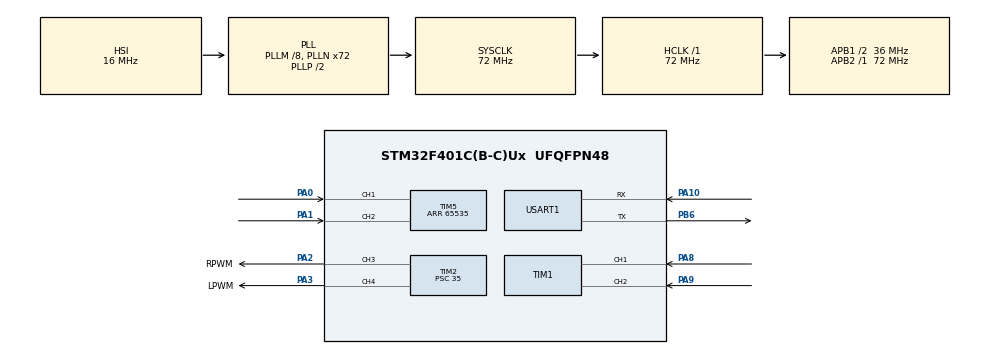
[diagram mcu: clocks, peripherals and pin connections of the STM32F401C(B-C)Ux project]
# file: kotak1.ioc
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Mcu.Family=STM32F4
Mcu.Name=STM32F401C(B-C)Ux
Mcu.Package=UFQFPN48
NVIC.PriorityGroup=NVIC_PRIORITYGROUP_4
NVIC.TIM3_IRQn=true\:0\:0\:false\:false\:true\:true\:true\:true
PA0-WKUP.Signal=S_TIM5_CH1
PA1.Signal=S_TIM5_CH2
PA10.Mode=Asynchronous
PA10.Signal=USART1_RX
PA13.Mode=Serial_Wire
PA13.Signal=SYS_JTMS-SWDIO
PA14.Mode=Serial_Wire
PA14.Signal=SYS_JTCK-SWCLK
PA2.GPIO_Label=RPWM
PA2.Signal=S_TIM2_CH3
PA3.GPIO_Label=LPWM
PA3.Signal=S_TIM2_CH4
PA8.Signal=S_TIM1_CH1
PA9.Signal=S_TIM1_CH2
PB6.Mode=Asynchronous
PB6.Signal=USART1_TX
PH0\ -\ OSC_IN.Mode=HSE-External-Oscillator
PH0\ -\ OSC_IN.Signal=RCC_OSC_IN
PH1\ -\ OSC_OUT.Mode=HSE-External-Oscillator
PH1\ -\ OSC_OUT.Signal=RCC_OSC_OUT
ProjectManager.HeapSize=0x200
ProjectManager.StackSize=0x400
ProjectManager.TargetToolchain=STM32CubeIDE
RCC.48MHZClocksFreq_Value=36000000
RCC.AHBFreq_Value=72000000
RCC.APB1CLKDivider=RCC_HCLK_DIV2
RCC.APB1Freq_Value=36000000
RCC.APB1TimFreq_Value=72000000
RCC.APB2Freq_Value=72000000
RCC.APB2TimFreq_Value=72000000
RCC.CortexFreq_Value=72000000
RCC.HCLKFreq_Value=72000000
RCC.HSE_VALUE=25000000
RCC.HSI_VALUE=16000000
RCC.LSE_VALUE=32768
RCC.PLLM=8
RCC.PLLN=72
RCC.SYSCLKFreq_VALUE=72000000
RCC.SYSCLKSource=RCC_SYSCLKSOURCE_PLLCLK
RCC.VCOOutputFreq_Value=144000000
SH.S_TIM1_CH1.0=TIM1_CH1,Encoder_Interface
SH.S_TIM1_CH2.0=TIM1_CH2,Encoder_Interface
SH.S_TIM2_CH3.0=TIM2_CH3,PWM Generation3 CH3
SH.S_TIM2_CH4.0=TIM2_CH4,PWM Generation4 CH4
SH.S_TIM5_CH1.0=TIM5_CH1,Encoder_Interface
SH.S_TIM5_CH2.0=TIM5_CH2,Encoder_Interface
TIM1.EncoderMode=TIM_ENCODERMODE_TI12
TIM2.Channel-PWM\ Generation3\ CH3=TIM_CHANNEL_3
TIM2.Channel-PWM\ Generation4\ CH4=TIM_CHANNEL_4
TIM2.Period=99
TIM2.Prescaler=35
TIM3.Period=65535
TIM3.Prescaler=0
TIM5.EncoderMode=TIM_ENCODERMODE_TI12
TIM5.Period=65535
USART1.VirtualMode=VM_ASYNC
VP_TIM2_VS_ClockSourceINT.Mode=Internal
VP_TIM3_VS_ClockSourceINT.Mode=Internal
board=custom

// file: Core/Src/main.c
/* USER CODE BEGIN Header */
/**
  ******************************************************************************
  * @file           : main.c
  * @brief          : Main program body
  ******************************************************************************
  * @attention
  *
  * Copyright (c) 2026 STMicroelectronics.
  * All rights reserved.
  *
  * This software is licensed under terms that can be found in the LICENSE file
  * in the root directory of this software component.
  * If no LICENSE file comes with this software, it is provided AS-IS.
  *
  ******************************************************************************
  */
/* USER CODE END Header */
#include "main.h"

/* USER CODE BEGIN Includes */
#include <stdio.h>
#include "PID.h"
/* USER CODE END Includes */

TIM_HandleTypeDef htim1;
TIM_HandleTypeDef htim2;
TIM_HandleTypeDef htim3;
TIM_HandleTypeDef htim5;

UART_HandleTypeDef huart1;

/* USER CODE BEGIN PV */
//general
float duty;
int x;
uint32_t time;
//encoder
float measuredRPM = 0;
int16_t counterValue;
int16_t pastCounterValue;
int angleValue;
volatile float baca = 0.0f;
int16_t delta;
float rpm;
float cpr = 537.6;
float derajat;
uint32_t prevwaktu;

//PID
PIDController motorPID;
float targetRPM = 0.0f;       // <-- Type your desired RPM here in Live Expressions!
float Kp = 0.1f;              // Optional: expose Kp, Ki, Kd to tune them live too!
float Ki = 0.0f;
float Kd = 0.0f;

float posisi;
float ms = 50;
// printMessage;
/* USER CODE END PV */

void SystemClock_Config(void);
static void MX_GPIO_Init(void);
static void MX_TIM2_Init(void);
static void MX_USART1_UART_Init(void);
static void MX_TIM1_Init(void);
static void MX_TIM3_Init(void);
static void MX_TIM5_Init(void);

/* USER CODE BEGIN 0 */
void motor(){
	if (targetRPM > 0) {
		 if (duty < 0){
		 duty = 0;
		 }
		__HAL_TIM_SET_COMPARE(&htim2, TIM_CHANNEL_3, (uint32_t)(duty));
		__HAL_TIM_SET_COMPARE(&htim2, TIM_CHANNEL_4, 0);
	}
	else if (targetRPM<0) {
		 if (duty > 0){
		 duty = 0;
		 }
		__HAL_TIM_SET_COMPARE(&htim2, TIM_CHANNEL_3, 0);
		__HAL_TIM_SET_COMPARE(&htim2, TIM_CHANNEL_4, (uint32_t)(-duty));//-
	}
	else{
        motorPID.integrator = 0;
        duty = 0;
		__HAL_TIM_SET_COMPARE(&htim2, TIM_CHANNEL_3, 0);
		__HAL_TIM_SET_COMPARE(&htim2, TIM_CHANNEL_4, 0);
	}
}

void modeFahri(){
	  time = HAL_GetTick();
	  if (time - prevwaktu < 50) return;
	  prevwaktu = time;
	  counterValue =(int16_t)__HAL_TIM_GET_COUNTER(&htim5);
	  	  if(counterValue != pastCounterValue || duty == 0){
	  		  angleValue=(360.0/cpr)*((float)counterValue);
	  		  delta = counterValue - pastCounterValue;
	  		  rpm = (delta/cpr) * (60/0.05);
			  motorPID.Kp = Kp;
			  motorPID.Ki = Ki;
			  motorPID.Kd = Kd;
			  duty = (float)PIDController_Update(&motorPID, targetRPM, rpm);
	  	  }
 	  pastCounterValue = counterValue;

	  motor();
//	  counterValue =(int16_t)__HAL_TIM_GET_COUNTER(&htim5);

}
/* USER CODE END 0 */

int main(void)
{

  /* MCU Configuration--------------------------------------------------------*/

  /* Reset of all peripherals, Initializes the Flash interface and the Systick. */
  HAL_Init();

  /* USER CODE BEGIN Init */

//	void pidPosisi(){
//		posisi = sTarget/360*cpr;
//
//	}
  /* USER CODE END Init */

  /* Configure the system clock */
  SystemClock_Config();

  /* Initialize all configured peripherals */
  MX_GPIO_Init();
  MX_TIM2_Init();
  MX_USART1_UART_Init();
  MX_TIM1_Init();
  MX_TIM3_Init();
  MX_TIM5_Init();
  /* USER CODE BEGIN 2 */
  HAL_TIM_PWM_Start(&htim2, TIM_CHANNEL_3);
  HAL_TIM_PWM_Start(&htim2, TIM_CHANNEL_4);
  HAL_TIM_Encoder_Start(&htim5, TIM_CHANNEL_ALL);

  motorPID.Kp = Kp;
  motorPID.Ki = Ki;
  motorPID.Kd = Kd;
  motorPID.tau = 0.02f;
  motorPID.limMin = -50.0f;     // Allow negative output if you want reverse RPM
  motorPID.limMax = 50.0f;      // Matches your TIM2 Period = 99
  motorPID.limMinInt = -50.0f;
  motorPID.limMaxInt = 50.0f;
  motorPID.T = 0.05f;           // MUST match your 50 ms (0.05s) loop!
  PIDController_Init(&motorPID);
//  int counterValue;
//  int pastCounterValue;
//  float angleValue;
//  char printMessage[200]={'\0'};
  /* USER CODE END 2 */

  /* Infinite loop */
  /* USER CODE BEGIN WHILE */
  while (1)
  {
	  modeFahri();
//	  motor();

//	  time = HAL_GetTick();
//	  if(time -prevwaktu>=10){
//		  modeFahri();
//		  time = prevwaktu;
//	  }

//	  posisi();

    /* USER CODE END WHILE */

  }
}

void SystemClock_Config(void)
{
  RCC_OscInitTypeDef RCC_OscInitStruct = {0};
  RCC_ClkInitTypeDef RCC_ClkInitStruct = {0};

  /** Configure the main internal regulator output voltage
  */
  __HAL_RCC_PWR_CLK_ENABLE();
  __HAL_PWR_VOLTAGESCALING_CONFIG(PWR_REGULATOR_VOLTAGE_SCALE2);

  /** Initializes the RCC Oscillators according to the specified parameters
  * in the RCC_OscInitTypeDef structure.
  */
  RCC_OscInitStruct.OscillatorType = RCC_OSCILLATORTYPE_HSI;
  RCC_OscInitStruct.HSIState = RCC_HSI_ON;
  RCC_OscInitStruct.HSICalibrationValue = RCC_HSICALIBRATION_DEFAULT;
  RCC_OscInitStruct.PLL.PLLState = RCC_PLL_ON;
  RCC_OscInitStruct.PLL.PLLSource = RCC_PLLSOURCE_HSI;
  RCC_OscInitStruct.PLL.PLLM = 8;
  RCC_OscInitStruct.PLL.PLLN = 72;
  RCC_OscInitStruct.PLL.PLLP = RCC_PLLP_DIV2;
  RCC_OscInitStruct.PLL.PLLQ = 4;
  if (HAL_RCC_OscConfig(&RCC_OscInitStruct) != HAL_OK)
  {
    Error_Handler();
  }

  /** Initializes the CPU, AHB and APB buses clocks
  */
  RCC_ClkInitStruct.ClockType = RCC_CLOCKTYPE_HCLK|RCC_CLOCKTYPE_SYSCLK
                              |RCC_CLOCKTYPE_PCLK1|RCC_CLOCKTYPE_PCLK2;
  RCC_ClkInitStruct.SYSCLKSource = RCC_SYSCLKSOURCE_PLLCLK;
  RCC_ClkInitStruct.AHBCLKDivider = RCC_SYSCLK_DIV1;
  RCC_ClkInitStruct.APB1CLKDivider = RCC_HCLK_DIV2;
  RCC_ClkInitStruct.APB2CLKDivider = RCC_HCLK_DIV1;

  if (HAL_RCC_ClockConfig(&RCC_ClkInitStruct, FLASH_LATENCY_2) != HAL_OK)
  {
    Error_Handler();
  }
}

static void MX_TIM1_Init(void)
{

  TIM_Encoder_InitTypeDef sConfig = {0};
  TIM_MasterConfigTypeDef sMasterConfig = {0};

  htim1.Instance = TIM1;
  htim1.Init.Prescaler = 0;
  htim1.Init.CounterMode = TIM_COUNTERMODE_UP;
  htim1.Init.Period = 65535;
  htim1.Init.ClockDivision = TIM_CLOCKDIVISION_DIV1;
  htim1.Init.RepetitionCounter = 0;
  htim1.Init.AutoReloadPreload = TIM_AUTORELOAD_PRELOAD_DISABLE;
  sConfig.EncoderMode = TIM_ENCODERMODE_TI12;
  sConfig.IC1Polarity = TIM_ICPOLARITY_RISING;
  sConfig.IC1Selection = TIM_ICSELECTION_DIRECTTI;
  sConfig.IC1Prescaler = TIM_ICPSC_DIV1;
  sConfig.IC1Filter = 0;
  sConfig.IC2Polarity = TIM_ICPOLARITY_RISING;
  sConfig.IC2Selection = TIM_ICSELECTION_DIRECTTI;
  sConfig.IC2Prescaler = TIM_ICPSC_DIV1;
  sConfig.IC2Filter = 0;
  if (HAL_TIM_Encoder_Init(&htim1, &sConfig) != HAL_OK)
  {
    Error_Handler();
  }
  sMasterConfig.MasterOutputTrigger = TIM_TRGO_RESET;
  sMasterConfig.MasterSlaveMode = TIM_MASTERSLAVEMODE_DISABLE;
  if (HAL_TIMEx_MasterConfigSynchronization(&htim1, &sMasterConfig) != HAL_OK)
  {
    Error_Handler();
  }

}

static void MX_TIM2_Init(void)
{

  TIM_ClockConfigTypeDef sClockSourceConfig = {0};
  TIM_MasterConfigTypeDef sMasterConfig = {0};
  TIM_OC_InitTypeDef sConfigOC = {0};

  htim2.Instance = TIM2;
  htim2.Init.Prescaler = 35;
  htim2.Init.CounterMode = TIM_COUNTERMODE_UP;
  htim2.Init.Period = 99;
  htim2.Init.ClockDivision = TIM_CLOCKDIVISION_DIV1;
  htim2.Init.AutoReloadPreload = TIM_AUTORELOAD_PRELOAD_DISABLE;
  if (HAL_TIM_Base_Init(&htim2) != HAL_OK)
  {
    Error_Handler();
  }
  sClockSourceConfig.ClockSource = TIM_CLOCKSOURCE_INTERNAL;
  if (HAL_TIM_ConfigClockSource(&htim2, &sClockSourceConfig) != HAL_OK)
  {
    Error_Handler();
  }
  if (HAL_TIM_PWM_Init(&htim2) != HAL_OK)
  {
    Error_Handler();
  }
  sMasterConfig.MasterOutputTrigger = TIM_TRGO_RESET;
  sMasterConfig.MasterSlaveMode = TIM_MASTERSLAVEMODE_DISABLE;
  if (HAL_TIMEx_MasterConfigSynchronization(&htim2, &sMasterConfig) != HAL_OK)
  {
    Error_Handler();
  }
  sConfigOC.OCMode = TIM_OCMODE_PWM1;
  sConfigOC.Pulse = 0;
  sConfigOC.OCPolarity = TIM_OCPOLARITY_HIGH;
  sConfigOC.OCFastMode = TIM_OCFAST_DISABLE;
  if (HAL_TIM_PWM_ConfigChannel(&htim2, &sConfigOC, TIM_CHANNEL_3) != HAL_OK)
  {
    Error_Handler();
  }
  if (HAL_TIM_PWM_ConfigChannel(&htim2, &sConfigOC, TIM_CHANNEL_4) != HAL_OK)
  {
    Error_Handler();
  }
  HAL_TIM_MspPostInit(&htim2);

}

static void MX_TIM3_Init(void)
{

  TIM_ClockConfigTypeDef sClockSourceConfig = {0};
  TIM_MasterConfigTypeDef sMasterConfig = {0};

  htim3.Instance = TIM3;
  htim3.Init.Prescaler = 0;
  htim3.Init.CounterMode = TIM_COUNTERMODE_UP;
  htim3.Init.Period = 65535;
  htim3.Init.ClockDivision = TIM_CLOCKDIVISION_DIV1;
  htim3.Init.AutoReloadPreload = TIM_AUTORELOAD_PRELOAD_DISABLE;
  if (HAL_TIM_Base_Init(&htim3) != HAL_OK)
  {
    Error_Handler();
  }
  sClockSourceConfig.ClockSource = TIM_CLOCKSOURCE_INTERNAL;
  if (HAL_TIM_ConfigClockSource(&htim3, &sClockSourceConfig) != HAL_OK)
  {
    Error_Handler();
  }
  sMasterConfig.MasterOutputTrigger = TIM_TRGO_RESET;
  sMasterConfig.MasterSlaveMode = TIM_MASTERSLAVEMODE_DISABLE;
  if (HAL_TIMEx_MasterConfigSynchronization(&htim3, &sMasterConfig) != HAL_OK)
  {
    Error_Handler();
  }

}

static void MX_TIM5_Init(void)
{

  TIM_Encoder_InitTypeDef sConfig = {0};
  TIM_MasterConfigTypeDef sMasterConfig = {0};

  htim5.Instance = TIM5;
  htim5.Init.Prescaler = 0;
  htim5.Init.CounterMode = TIM_COUNTERMODE_UP;
  htim5.Init.Period = 65535;
  htim5.Init.ClockDivision = TIM_CLOCKDIVISION_DIV1;
  htim5.Init.AutoReloadPreload = TIM_AUTORELOAD_PRELOAD_DISABLE;
  sConfig.EncoderMode = TIM_ENCODERMODE_TI12;
  sConfig.IC1Polarity = TIM_ICPOLARITY_RISING;
  sConfig.IC1Selection = TIM_ICSELECTION_DIRECTTI;
  sConfig.IC1Prescaler = TIM_ICPSC_DIV1;
  sConfig.IC1Filter = 0;
  sConfig.IC2Polarity = TIM_ICPOLARITY_RISING;
  sConfig.IC2Selection = TIM_ICSELECTION_DIRECTTI;
  sConfig.IC2Prescaler = TIM_ICPSC_DIV1;
  sConfig.IC2Filter = 0;
  if (HAL_TIM_Encoder_Init(&htim5, &sConfig) != HAL_OK)
  {
    Error_Handler();
  }
  sMasterConfig.MasterOutputTrigger = TIM_TRGO_RESET;
  sMasterConfig.MasterSlaveMode = TIM_MASTERSLAVEMODE_DISABLE;
  if (HAL_TIMEx_MasterConfigSynchronization(&htim5, &sMasterConfig) != HAL_OK)
  {
    Error_Handler();
  }

}

static void MX_USART1_UART_Init(void)
{

  huart1.Instance = USART1;
  huart1.Init.BaudRate = 115200;
  huart1.Init.WordLength = UART_WORDLENGTH_8B;
  huart1.Init.StopBits = UART_STOPBITS_1;
  huart1.Init.Parity = UART_PARITY_NONE;
  huart1.Init.Mode = UART_MODE_TX_RX;
  huart1.Init.HwFlowCtl = UART_HWCONTROL_NONE;
  huart1.Init.OverSampling = UART_OVERSAMPLING_16;
  if (HAL_UART_Init(&huart1) != HAL_OK)
  {
    Error_Handler();
  }

}

static void MX_GPIO_Init(void)
{

  /* GPIO Ports Clock Enable */
  __HAL_RCC_GPIOH_CLK_ENABLE();
  __HAL_RCC_GPIOA_CLK_ENABLE();
  __HAL_RCC_GPIOB_CLK_ENABLE();

}

void Error_Handler(void)
{
  __disable_irq();
  while (1)
  {
  }
}
